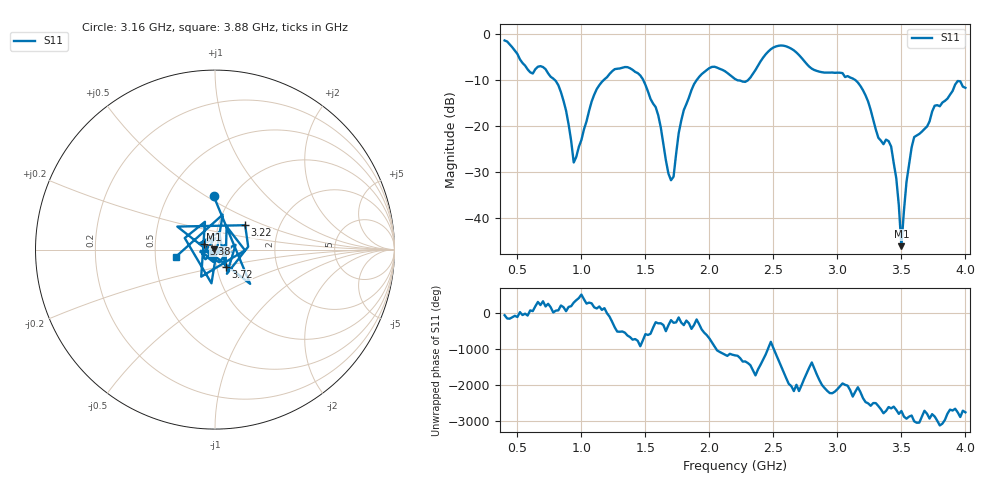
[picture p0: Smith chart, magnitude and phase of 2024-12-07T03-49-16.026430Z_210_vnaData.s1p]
!Created with skrf (http://scikit-rf.org).
# Hz S RI R 50.0
!freq ReS11 ImS11
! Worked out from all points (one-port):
!   181 points, 400 MHz to 4 GHz, reference 50 ohm
!   lowest |S11| = -46.1 dB at 3.5 GHz (marker M1), VSWR 1.01, Z = 49.6 + j0.245 ohm
!   |S11| at or under -10 dB: 793.4 MHz to 1.173 GHz (379.7 MHz wide, 38.6 % of centre); 1.484 GHz to 1.9 GHz (416.1 MHz wide, 24.6 % of centre); 3.141 GHz to end of sweep (the widest 3 of 4)
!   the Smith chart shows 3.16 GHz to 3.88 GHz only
!   S11 on the Smith chart (normalised r, x): 3.16 GHz: 0.82, +0.54; 3.22 GHz: 1.34, +0.38; 3.38 GHz: 0.88, +0.06; 3.72 GHz: 1.10, -0.22; 3.88 GHz: 0.64, -0.05
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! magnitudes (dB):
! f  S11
! 400 MHz  -1.4
! 600 MHz  -8.3
! 720 MHz  -7.6
! 860 MHz  -14.5
! 940 MHz  -27.9
! 1.12 GHz  -11.9
! 1.3 GHz  -7.4
! 1.46 GHz  -9.0
! 1.58 GHz  -15.8
! 1.7 GHz  -31.7
! 1.76 GHz  -21.5
! 1.94 GHz  -8.7
! 2.2 GHz  -9.7
! 2.5 GHz  -2.9
! 2.66 GHz  -3.5
! 3.1 GHz  -9.4
! 3.16 GHz  -10.5
! 3.22 GHz  -13.3
! 3.32 GHz  -22.5
! 3.38 GHz  -22.9
! 3.42 GHz  -24.4
! 3.46 GHz  -31.3
! 3.5 GHz  -46.1
! 3.56 GHz  -28.2
! 3.6 GHz  -22.4
! 3.72 GHz  -19.0
! 3.88 GHz  -13.2
! 4 GHz  -11.7
